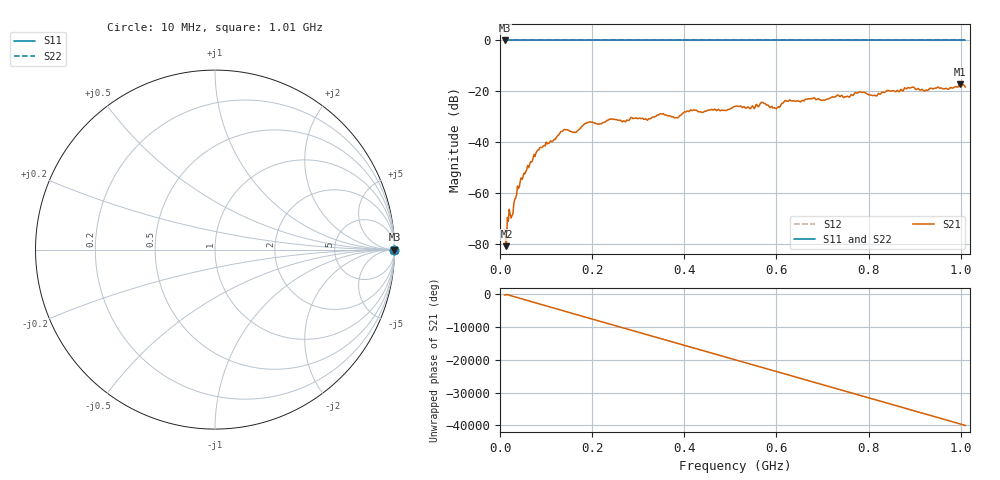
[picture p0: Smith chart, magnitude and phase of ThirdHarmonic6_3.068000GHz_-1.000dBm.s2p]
! 8/17/2025 8:57:41 AM
! C:\ANRITSUVNA\TEMP\TEMP.S2P
! CHANNEL.1
! TR.MEASUREMENT
! RAW.DATA
! RF.CORRECTION.OFF
! AVERAGING.OFF
! IF.BANDWIDTH: 5KHZ
! SWEEPTYPE:  FREQ.SWEEP(Linear)
! Reference Plane Port Info
! PORT:  PORT1  PORT2
! DISTANCE:  0  m  0  m
! TIME:  0  s  0  s
! PHASE.OFFSET:  0  deg.  0  deg.
! LOSS:  0  dB  0  dB
! REF.LOSS:  0  dB  0  dB
! REF.FREQ:  0  Hz  0  Hz
! Power Info
! POWER:  -20  dBm  -20  dBm
! EFF.POWER:  -20  dBm  -20  dBm
! SOURCE.ATTEN:  0  dB  0  dB
! TEST.ATTEN:  0  dB  0  dB
# GHZ S RI R 50.0
! FREQ.GHZ  S11RE  S11IM  S21RE  S21IM  S12RE  S12IM  S22RE  S22IM
!; PortSelection: Port_12
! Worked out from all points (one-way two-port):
!   501 points, 10 MHz to 1.01 GHz, reference 50 ohm
!   highest |S21| = -17.25 dB at 998 MHz (marker M1); lowest = -81.0 dB at 14 MHz (marker M2)
!   lowest |S11| = 0.0 dB at 10 MHz (marker M3)
!   |S11| at or under -10 dB: nowhere
!   |S22| runs from 0.0 to 0.0 dB; largest |S21 - S12| = 1.1
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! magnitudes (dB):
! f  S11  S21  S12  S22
! 10 MHz  0.0  -74.6  0.0  0.0
! 14 MHz  0.0  -81.0  0.0  0.0
! 20 MHz  0.0  -66.5  0.0  0.0
! 26 MHz  0.0  -68.9  0.0  0.0
! 42 MHz  0.0  -57.6  0.0  0.0
! 82 MHz  0.0  -43.2  0.0  0.0
! 136 MHz  0.0  -35.7  0.0  0.0
! 162 MHz  0.0  -36.3  0.0  0.0
! 178 MHz  0.0  -33.8  0.0  0.0
! 344 MHz  0.0  -29.4  0.0  0.0
! 382 MHz  0.0  -30.4  0.0  0.0
! 416 MHz  0.0  -27.6  0.0  0.0
! 510 MHz  0.0  -25.9  0.0  0.0
! 570 MHz  0.0  -24.4  0.0  0.0
! 598 MHz  0.0  -26.7  0.0  0.0
! 620 MHz  0.0  -23.6  0.0  0.0
! 678 MHz  0.0  -22.9  0.0  0.0
! 784 MHz  0.0  -20.4  0.0  0.0
! 814 MHz  0.0  -21.6  0.0  0.0
! 844 MHz  0.0  -19.8  0.0  0.0
! 998 MHz  0.0  -17.2  0.0  0.0
! 1.01 GHz  0.0  -18.3  0.0  0.0
